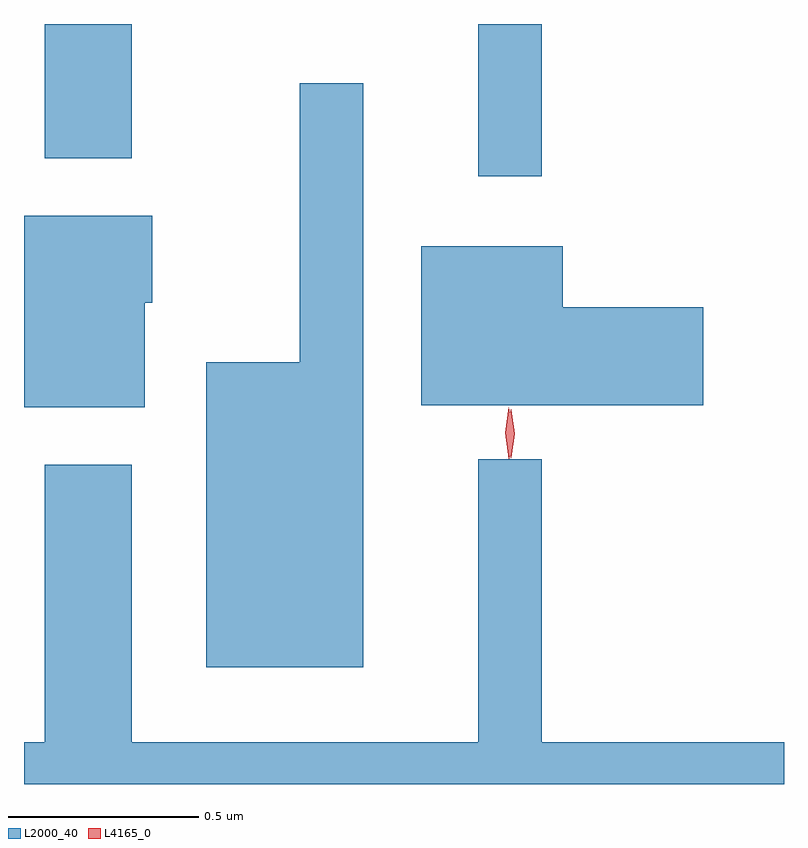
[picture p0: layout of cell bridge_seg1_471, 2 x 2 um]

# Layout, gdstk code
import gdstk
lib = gdstk.Library(unit=1e-6, precision=1e-09)
def R(c, l, rs):  # rectangles x0, y0, x1, y1
    for r in rs: c.add(gdstk.rectangle(r[:2], r[2:], *l))
def P(c, l, *ps):  # polygons
    for p in ps: c.add(gdstk.Polygon(p, *l))
L2000_40 = (2000, 40)
L4165_0 = (4165, 0)

bridge_seg1_471 = lib.new_cell('bridge_seg1_471')
R(bridge_seg1_471, L2000_40, [(248.941,859.153,249.109,859.554), (247.801,859.201,248.029,859.554)])
P(bridge_seg1_471, L2000_40, [(248.639,859.398),(248.471,859.398),(248.471,858.664),(248.226,858.664),(248.226,857.861),(248.639,857.861)],
  [(248.064,858.821),(248.084,858.821),(248.084,859.049),(247.746,859.049),(247.746,858.546),(248.064,858.546)],
  [(249.534,858.809),(249.164,858.809),(249.164,858.969),(248.791,858.969),(248.791,858.551),(249.534,858.551)],
  [(249.746,857.664),(249.109,857.664),(249.109,858.408),(248.941,858.408),(248.941,857.664),(248.029,857.664),(248.029,858.394),(247.801,858.394),(247.801,857.664),(247.746,857.664),(247.746,857.554),(249.746,857.554)])
P(bridge_seg1_471, L4165_0, [(249.027,858.413),(249.018,858.476),(249.027,858.539),(249.028,858.54),(249.028,858.539),(249.038,858.476),(249.028,858.413),(249.028,858.413)],
  [(249.022,858.41),(249.022,858.41),(249.012,858.478),(249.021,858.546),(249.022,858.546),(249.022,858.546),(249.032,858.478),(249.023,858.41)])

lib.write_gds('bridge_seg1_471.gds')
